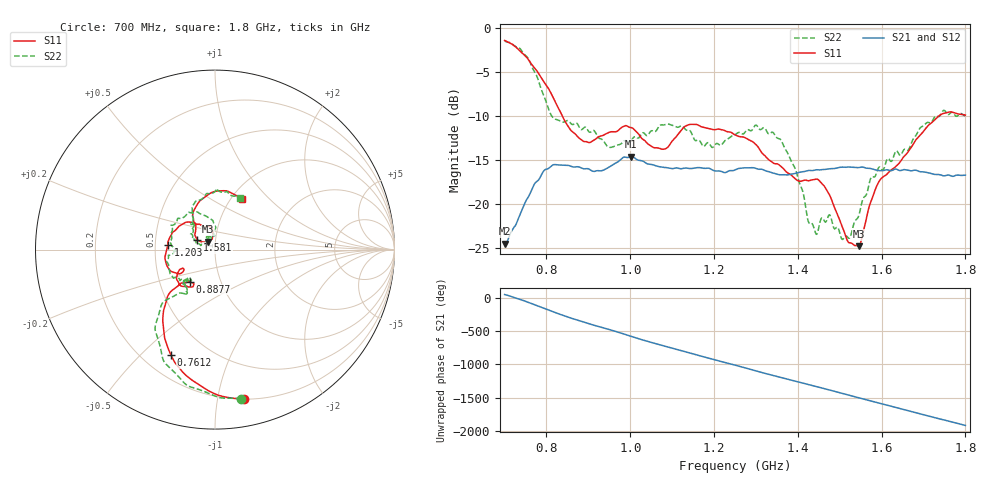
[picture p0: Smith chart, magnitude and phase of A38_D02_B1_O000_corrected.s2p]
! Created with skrf 1.9.0 (http://scikit-rf.org).
# Hz S RI R 50.0
!freq ReS11 ImS11 ReS21 ImS21 ReS12 ImS12 ReS22 ImS22
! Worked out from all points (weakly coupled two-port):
!   1601 points, 700 MHz to 1.8 GHz, reference 50 ohm
!   highest |S21| = -14.63 dB at 1.002 GHz (marker M1); lowest = -24.6 dB at 700.7 MHz (marker M2)
!   lowest |S11| = -24.8 dB at 1.545 GHz (marker M3), VSWR 1.12, Z = 46.2 + j4.04 ohm
!   |S11| at or under -10 dB: 837.7 MHz to 1.737 GHz (898.9 MHz wide, 69.8 % of centre)
!   |S22| runs from -24.1 to -1.5 dB; largest |S21 - S12| = 0.0034
!   S11 on the Smith chart (normalised r, x): 700 MHz: 0.20, -1.19; 761.2 MHz: 0.31, -0.62; 887.7 MHz: 0.71, -0.27; 1.203 GHz: 0.58, +0.03; 1.581 GHz: 0.82, +0.09; 1.8 GHz: 1.11, +0.70
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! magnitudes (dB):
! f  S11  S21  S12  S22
! 700 MHz  -1.4  -24.6  -24.3  -1.5
! 700.7 MHz  -1.4  -24.6  -24.3  -1.5
! 761.2 MHz  -3.9  -18.8  -18.7  -3.9
! 814.1 MHz  -7.7  -15.6  -15.7  -10.1
! 883.6 MHz  -12.7  -15.9  -15.8  -11.6
! 887.7 MHz  -12.9  -16.0  -15.9  -11.4
! 950.2 MHz  -11.9  -15.8  -15.8  -13.6
! 1.002 GHz  -11.3  -14.6  -14.7  -12.8
! 1.067 GHz  -13.7  -15.8  -15.7  -11.3
! 1.139 GHz  -11.0  -16.0  -15.9  -11.6
! 1.203 GHz  -11.6  -16.3  -16.3  -13.3
! 1.25 GHz  -12.2  -16.2  -16.1  -12.1
! 1.3 GHz  -13.3  -16.0  -16.0  -11.1
! 1.359 GHz  -15.7  -16.7  -16.7  -12.7
! 1.434 GHz  -17.3  -16.2  -16.2  -22.3
! 1.47 GHz  -18.5  -16.1  -16.1  -21.8
! 1.521 GHz  -24.4  -15.8  -15.8  -23.9
! 1.545 GHz  -24.8  -15.9  -15.9  -21.5
! 1.581 GHz  -19.0  -16.1  -16.1  -17.0
! 1.617 GHz  -16.4  -16.2  -16.2  -14.9
! 1.737 GHz  -10.0  -16.7  -16.7  -10.1
! 1.8 GHz  -9.9  -16.8  -16.7  -10.0
